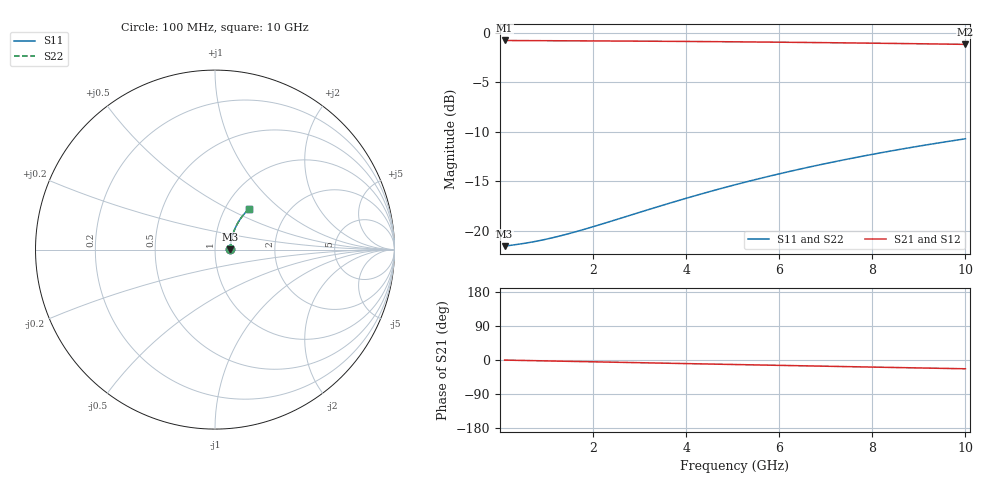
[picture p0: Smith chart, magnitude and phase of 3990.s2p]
# Hz S RI R 50.00
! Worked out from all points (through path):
!   100 points, 100 MHz to 10 GHz, reference 50 ohm
!   highest |S21| = -0.76 dB at 100 MHz (marker M1); lowest = -1.2 dB at 10 GHz (marker M2)
!   group delay of S21, straight-line fit = 6.44 ps
!   lowest |S11| = -21.6 dB at 100 MHz (marker M3), VSWR 1.18, Z = 59.1 + j0.312 ohm
!   |S11| at or under -10 dB: start of sweep to end of sweep
!   |S22| runs from -21.6 to -10.7 dB; largest |S21 - S12| = 0
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1e8  0.0835 0.00262  0.9165 -0.00382  0.9165 -0.00382  0.0835 0.00262
5e8  0.0851 0.013  0.9149 -0.019  0.9149 -0.019  0.0851 0.013
7e8  0.0858 0.0182  0.9142 -0.0266  0.9142 -0.0266  0.0858 0.0182
9e8  0.0865 0.0234  0.9135 -0.0342  0.9135 -0.0342  0.0865 0.0234
1.1e9  0.0872 0.0286  0.9127 -0.0418  0.9127 -0.0418  0.0872 0.0286
1.3e9  0.088 0.0337  0.9119 -0.0493  0.9119 -0.0493  0.088 0.0337
1.5e9  0.0888 0.0388  0.911 -0.0569  0.911 -0.0569  0.0888 0.0388
1.8e9  0.0902 0.0465  0.9096 -0.0681  0.9096 -0.0681  0.0902 0.0465
2.3e9  0.0928 0.0592  0.9068 -0.0868  0.9068 -0.0868  0.0928 0.0592
3.4e9  0.1001 0.0865  0.899 -0.1274  0.899 -0.1274  0.1001 0.0865
3.9e9  0.1042 0.0987  0.8946 -0.1456  0.8946 -0.1456  0.1042 0.0987
4.3e9  0.1078 0.1082  0.8907 -0.1599  0.8907 -0.1599  0.1078 0.1082
4.7e9  0.1117 0.1176  0.8866 -0.1742  0.8866 -0.1742  0.1117 0.1176
5.1e9  0.1159 0.1269  0.8821 -0.1882  0.8821 -0.1882  0.1159 0.1269
5.5e9  0.1204 0.136  0.8773 -0.2021  0.8773 -0.2021  0.1204 0.136
5.9e9  0.1251 0.1449  0.8722 -0.2159  0.8722 -0.2159  0.1251 0.1449
6.7e9  0.1353 0.1621  0.8612 -0.2427  0.8612 -0.2427  0.1353 0.1621
7.5e9  0.1466 0.1784  0.8491 -0.2688  0.8491 -0.2688  0.1466 0.1784
7.9e9  0.1525 0.1863  0.8427 -0.2815  0.8427 -0.2815  0.1525 0.1863
8.4e9  0.1603 0.1958  0.8343 -0.2971  0.8343 -0.2971  0.1603 0.1958
9.2e9  0.1733 0.2102  0.8202 -0.3212  0.8202 -0.3212  0.1733 0.2102
1e10  0.1871 0.2236  0.8052 -0.3444  0.8052 -0.3444  0.1871 0.2236
